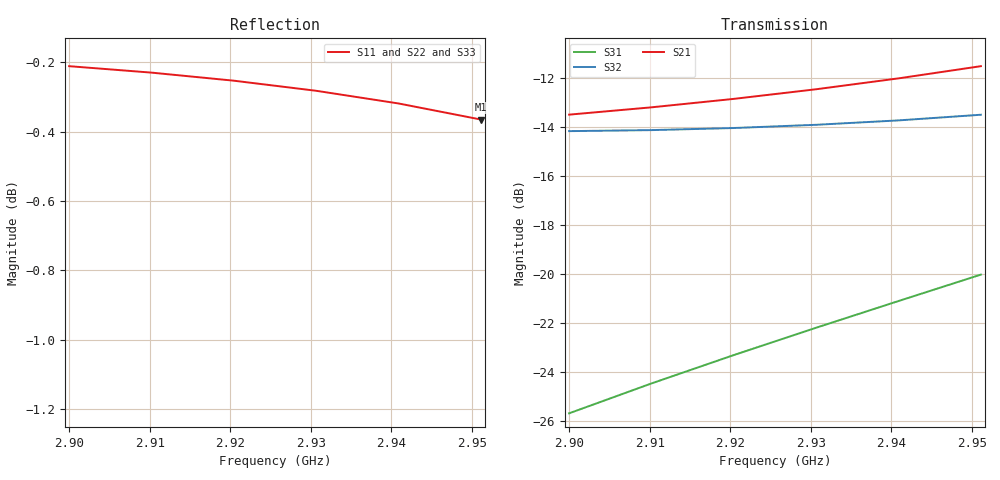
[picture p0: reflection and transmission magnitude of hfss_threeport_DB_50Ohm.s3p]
! Touchstone file from project Project1
! Exported from HFSS 2017.1.0
# GHZ S DB R 50.000000
! Modal data exported
! Port[1] = 1:1
! Port[2] = 2:1
! Port[3] = 3:1
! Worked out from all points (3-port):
!   6 points, 2.9 GHz to 2.9511 GHz, reference 50 ohm
!   strongest paths, dB at 2.9 GHz, 2.9102 GHz, 2.9307 GHz, 2.9409 GHz, 2.9511 GHz:
!     S21: -13.5, -13.2, -12.4, -12.0, -11.5
!     S32: -14.2, -14.1, -13.9, -13.7, -13.5
!     S31: -25.7, -24.5, -22.2, -21.1, -20.0
!   lowest |S11| = -0.4 dB at 2.9511 GHz (marker M1), VSWR 47.57, Z = 63.1 - j379 ohm
!   |S11| at or under -10 dB: nowhere
2.9  -0.21 -8.7  -13.48 83.6  -25.68 64.8
     -13.48 83.6  -0.38 -1.6  -14.16 -89.1
     -25.68 64.8  -14.16 -89.1  -0.18 6.5
2.910222  -0.23 -9.6  -13.19 82.4  -24.46 66.4
          -13.19 82.4  -0.39 -2.6  -14.12 -90.2
          -24.46 66.4  -14.12 -90.2  -0.19 5.8
2.920444  -0.25 -10.7  -12.84 81.2  -23.30 67.4
          -12.84 81.2  -0.42 -3.5  -14.03 -91.4
          -23.30 67.4  -14.03 -91.4  -0.20 5.2
2.930667  -0.28 -11.9  -12.45 79.9  -22.18 67.8
          -12.45 79.9  -0.45 -4.6  -13.90 -92.6
          -22.18 67.8  -13.90 -92.6  -0.21 4.6
2.940889  -0.32 -13.2  -12.00 78.4  -21.09 67.8
          -12.00 78.4  -0.48 -5.7  -13.72 -94.0
          -21.09 67.8  -13.72 -94.0  -0.22 3.9
2.951111  -0.37 -14.6  -11.51 76.9  -20.01 67.4
          -11.51 76.9  -0.53 -6.9  -13.49 -95.5
          -20.01 67.4  -13.49 -95.5  -0.24 3.3
